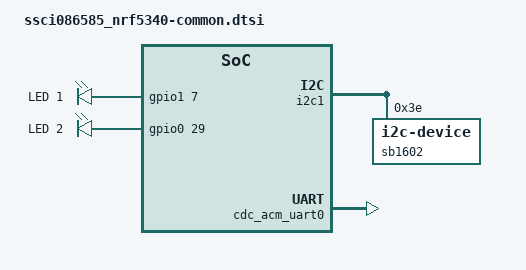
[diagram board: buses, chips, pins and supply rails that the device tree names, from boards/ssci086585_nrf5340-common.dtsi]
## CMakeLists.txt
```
cmake_minimum_required(VERSION 3.20.0)

find_package(Zephyr REQUIRED HINTS $ENV{ZEPHYR_BASE})
project(recv_sb1602)

add_subdirectory(src)

# NORDIC SDK APP END
# zephyr_library_include_directories(.)
```

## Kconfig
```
source "Kconfig.zephyr"

menu "User Kconfig"

rsource "src/Kconfig"

endmenu
```

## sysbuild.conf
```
###
### MCUboot
###
SB_CONFIG_BOOTLOADER_MCUBOOT=y
# SB_CONFIG_MCUBOOT_MODE_OVERWRITE_ONLY=y
# SB_CONFIG_MCUBOOT_HARDWARE_DOWNGRADE_PREVENTION=y

## for Non-Secure
# SB_CONFIG_MCUBOOT_USE_ALL_AVAILABLE_RAM=y
```

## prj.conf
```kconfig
CONFIG_LOG=y

CONFIG_GPIO=y
CONFIG_I2C=y

CONFIG_SYSTEM_WORKQUEUE_STACK_SIZE=2048

#----------------------------------------------------------------------------#
# DFU

# # For TF-M, MCUboot gets limited RAM.
# # However, for nRF5340 netcore update, it needs a lot of RAM.
# # See Kconfig description for a security warning
# CONFIG_MCUBOOT_USE_ALL_AVAILABLE_RAM=y

# # Enable mcumgr DFU in application
# CONFIG_MCUMGR=y

# # Enable MCUMGR management for both OS and Images
# CONFIG_MCUMGR_GRP_OS=y
# CONFIG_MCUMGR_GRP_IMG=y

# # Configure MCUMGR transport to UART
# CONFIG_MCUMGR_TRANSPORT_UART=y

# # Dependencies
# # Configure dependencies for CONFIG_MCUMGR
# CONFIG_NET_BUF=y
# CONFIG_ZCBOR=y
# CONFIG_CRC=y

# # Configure dependencies for CONFIG_MCUMGR_GRP_IMG
# CONFIG_FLASH=y
# CONFIG_IMG_MANAGER=y

# # Configure dependencies for CONFIG_IMG_MANAGER
# CONFIG_STREAM_FLASH=y
# CONFIG_FLASH_MAP=y

# # Configure dependencies for CONFIG_MCUMGR_TRANSPORT_UART
# CONFIG_BASE64=y

# USB CDC-ACM for DFU
CONFIG_USB_DEVICE_STACK=y
CONFIG_UART_LINE_CTRL=y
CONFIG_USB_DEVICE_INITIALIZE_AT_BOOT=n

# Configure MCUMGR transport to BLE
CONFIG_NCS_SAMPLE_MCUMGR_BT_OTA_DFU=y

#----------------------------------------------------------------------------#
# BLE
CONFIG_BT=y
CONFIG_BT_PERIPHERAL=y
CONFIG_BT_DEVICE_NAME="Local"

CONFIG_BT_LBS=y
CONFIG_BT_LBS_POLL_BUTTON=y

#----------------------------------------------------------------------------#
# Debug Assertion
# CONFIG_ASSERT=y

#----------------------------------------------------------------------------#
# project defined Kconfig

CONFIG_USER_APP_LOG_LEVEL_DBG=y
CONFIG_USER_BLE_LOG_LEVEL_DBG=y
CONFIG_USER_DRV_BUTTON_LOG_LEVEL_DBG=y
CONFIG_USER_DRV_LED_LOG_LEVEL_DBG=y
CONFIG_USER_DRV_SB1602_LOG_LEVEL_DBG=y
```

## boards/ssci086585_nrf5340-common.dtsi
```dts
// To get started, press Ctrl+Space to bring up the completion menu and view the available nodes.

// You can also use the buttons in the sidebar to perform actions on nodes.
// Actions currently available include:

// * Enabling / disabling the node
// * Adding the bus to a bus
// * Removing the node
// * Connecting ADC channels

// For more help, browse the DeviceTree documentation at https://docs.zephyrproject.org/latest/guides/dts/index.html
// You can also visit the nRF DeviceTree extension documentation at https://docs.nordicsemi.com/bundle/nrf-connect-vscode/page/guides/ncs_configure_app.html#devicetree-support-in-the-extension

/ {
	chosen {
		// Uncomment for enabling USB CDC ACM
		zephyr,console = &cdc_acm_uart0;
	};

	leds {
		compatible = "gpio-leds";
		led1: led-1 {
			gpios = <&gpio1 7 0>;
			label = "LED 1";
		};

		led2: led-2 {
			gpios = <&gpio0 29 0>;
			label = "LED 2";
		};
	};

	aliases {
		led1 = &led1;
		led2 = &led2;
	};
};

&i2c1_default {
	group1 {
		psels = <NRF_PSEL(TWIM_SDA, 0, 7)>,
				<NRF_PSEL(TWIM_SCL, 0, 9)>;
	};
};

&i2c1_sleep {
	group1 {
		psels = <NRF_PSEL(TWIM_SDA, 0, 7)>,
				<NRF_PSEL(TWIM_SCL, 0, 9)>;
	};
};

&i2c1 {
	status = "okay";

    sb1602: sb1602@3e{
        compatible = "i2c-device";
        status = "okay";
        reg = < 0x3e >;
    };
};

&zephyr_udc0 {
	cdc_acm_uart0: cdc_acm_uart0 {
		compatible = "zephyr,cdc-acm-uart";
	};
};
```

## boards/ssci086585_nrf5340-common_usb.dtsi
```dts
// To get started, press Ctrl+Space to bring up the completion menu and view the available nodes.

// You can also use the buttons in the sidebar to perform actions on nodes.
// Actions currently available include:

// * Enabling / disabling the node
// * Adding the bus to a bus
// * Removing the node
// * Connecting ADC channels

// For more help, browse the DeviceTree documentation at https://docs.zephyrproject.org/latest/guides/dts/index.html
// You can also visit the nRF DeviceTree extension documentation at https://docs.nordicsemi.com/bundle/nrf-connect-vscode/page/guides/ncs_configure_app.html#devicetree-support-in-the-extension

&usbd {
	status = "okay";
};
```

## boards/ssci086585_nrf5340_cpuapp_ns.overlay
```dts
#include "ssci086585_nrf5340-common.dtsi"
```

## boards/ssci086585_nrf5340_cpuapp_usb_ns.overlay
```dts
#include "ssci086585_nrf5340-common.dtsi"
#include "ssci086585_nrf5340-common_usb.dtsi"
```

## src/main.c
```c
#include <errno.h>

#include <zephyr/kernel.h>
#include <zephyr/types.h>
#include <zephyr/logging/log.h>
#include <zephyr/logging/log_ctrl.h>
#include <zephyr/fatal.h>
#include <zephyr/sys/reboot.h>

#include <zephyr/bluetooth/bluetooth.h>
#include <zephyr/usb/usb_device.h>

#include "drivers/button/button.h"
#include "drivers/led/led.h"
#include "drivers/sb1602/sb1602b.h"

#include "app/app.h"

LOG_MODULE_REGISTER(main, CONFIG_USER_MAIN_LOG_LEVEL);

int main(void)
{
    int ret;

    ret = led_init();
    if (ret != 0) {
        LOG_ERR("main: led_init(ret=%d)", ret);
        __ASSERT(0, "fail init: LED");
    }
    if (IS_ENABLED(CONFIG_USB_DEVICE_STACK)) {
        ret = usb_enable(NULL);
        if (ret != 0) {
            LOG_ERR("main: usb_enable(ret=%d)", ret);
            __ASSERT(0, "fail init: USB");
        }
    }

    ret = button_init();
    if (ret != 0) {
        LOG_ERR("main: button_init(ret=%d)", ret);
        __ASSERT(0, "fail init: Button");
    }
    ret = sb1602b_init();
    if (ret != 0) {
        LOG_ERR("main: sb1602b_init(ret=%d)", ret);
        __ASSERT(0, "fail init: SB1602");
    }
    ret = bt_enable(NULL);
    if (ret != 0) {
        LOG_ERR("main: bt_enable(ret=%d)", ret);
        __ASSERT(0, "fail init: ble enable");
    }

    ret = app_init();
    if (ret != 0) {
        LOG_ERR("main: app_init(ret=%d)", ret);
        __ASSERT(0, "fail init: ble ctrl");
    }
    // no return
    app_start();
}

// Overwrite system fatal error handler.
// https://docs.nordicsemi.com/bundle/ncs-2.8.0/page/zephyr/kernel/services/other/fatal.html#kernel_panic
void k_sys_fatal_error_handler(unsigned int reason, const struct arch_esf *esf)
{
    (void)reason;
    (void)esf;

    LOG_PANIC();
    LOG_ERR("mou dameda-!");

    led_set(0, 1);
    led_set(1, 1);
    led_set(2, 1);
    // sys_reboot(SYS_REBOOT_COLD);
    CODE_UNREACHABLE;
}
```

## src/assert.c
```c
#include <zephyr/kernel.h>

#include "drivers/led/led.h"

#define ERR_LED_BLINK_MSEC      (100)

#ifdef CONFIG_ASSERT
#ifdef CONFIG_ASSERT_NO_FILE_INFO
void assert_post_action(void)
{
#else // CONFIG_ASSERT_NO_FILE_INFO
void assert_post_action(const char *file, unsigned int line)
{
    (void)file;
    (void)line;
#endif // CONFIG_ASSERT_NO_FILE_INFO
    for (;;) {
        k_sleep(K_MSEC(ERR_LED_BLINK_MSEC));
        led_blink(0);
    }
}
#endif // CONFIG_ASSERT
```
